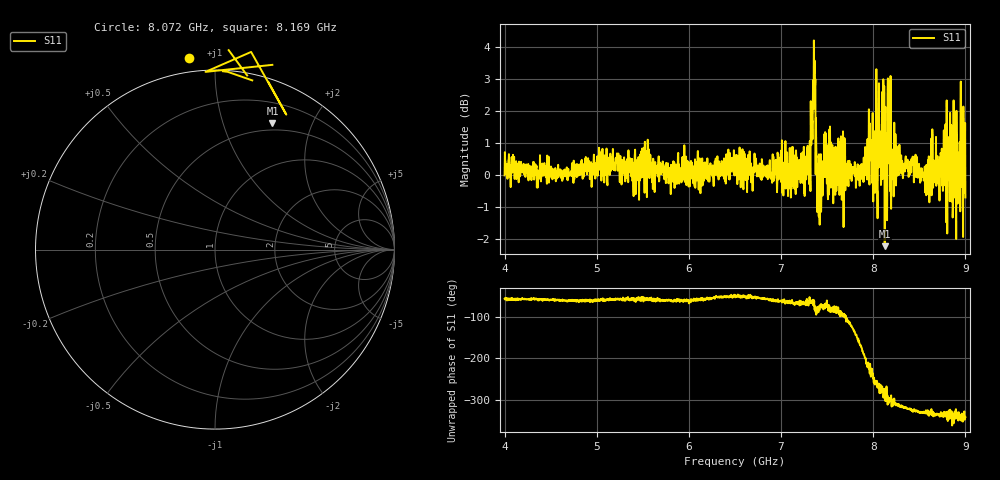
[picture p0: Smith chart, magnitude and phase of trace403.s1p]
! Created with skrf 1.8.0 (http://scikit-rf.org).
# Hz S RI R 50.0
!freq ReS11 ImS11
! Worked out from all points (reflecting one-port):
!   1601 points, 4 GHz to 9 GHz, reference 50 ohm
!   lowest |S11| = -2.2 dB at 8.125 GHz (marker M1), VSWR 7.88, Z = 20.8 + j73.5 ohm
!   phase of S11 starts at -57 deg and turns -284 deg over the sweep
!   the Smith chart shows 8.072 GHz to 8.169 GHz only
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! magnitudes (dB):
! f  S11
! 4 GHz  0.0
! 4.625 GHz  -0.2
! 5.25 GHz  -0.2
! 5.875 GHz  0.0
! 6.5 GHz  0.2
! 7.125 GHz  0.4
! 7.294 GHz  0.8
! 7.328 GHz  1.0
! 7.347 GHz  3.0
! 7.369 GHz  2.8
! 7.4 GHz  0.4
! 7.416 GHz  -1.2
! 7.478 GHz  1.3
! 7.75 GHz  0.0
! 7.878 GHz  -0.1
! 7.969 GHz  1.1
! 8.022 GHz  1.4
! 8.05 GHz  0.5
! 8.066 GHz  0.6
! 8.088 GHz  -0.1
! 8.125 GHz  -2.2
! 8.181 GHz  1.5
! 8.216 GHz  0.7
! 8.375 GHz  0.2
! 8.588 GHz  -0.3
! 8.919 GHz  -0.2
! 8.972 GHz  0.4
! 9 GHz  -0.7
